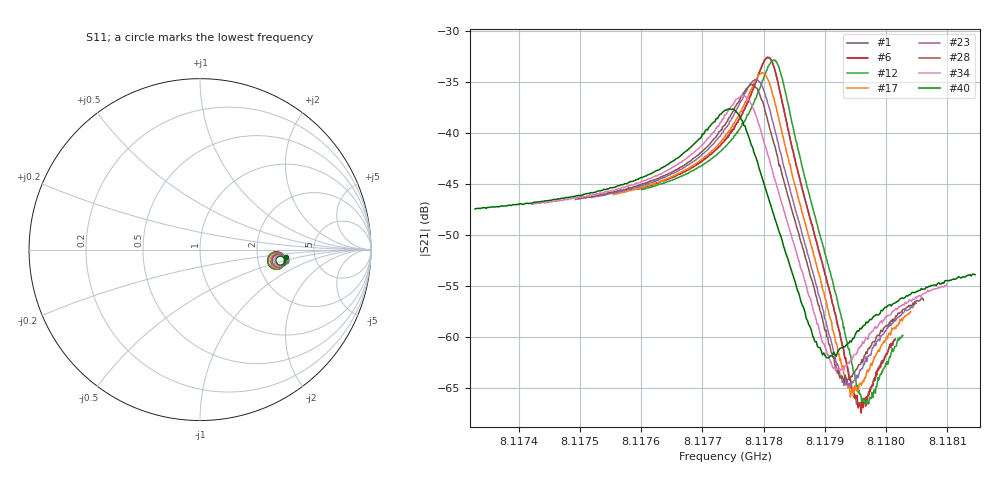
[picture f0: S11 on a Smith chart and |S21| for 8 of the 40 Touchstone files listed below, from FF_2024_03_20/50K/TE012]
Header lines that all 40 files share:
#  HZ  S  RI  R  50.00
! Rohde & Schwarz Vector Network Analyzer
! Rohde-Schwarz,ZNB20-2Port,1311601062101988,3.16
! freq[Hz]  re:S11  im:S11  re:S21  im:S21  re:S12  im:S12  re:S22  im:S22
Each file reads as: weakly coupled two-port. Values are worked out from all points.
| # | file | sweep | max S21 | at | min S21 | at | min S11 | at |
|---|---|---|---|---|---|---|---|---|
| 1 | 2_2_48.1969_50.1958656_0.271_6.521819353103638_.s2p | 8.1175951 GHz to 8.1180133 GHz | -32.59 dB | 8.1178052 GHz | -67.3 dB | 8.1179589 GHz | -7.9 dB | 8.1178094 GHz |
| 2 | 3_2_48.2007_50.1966286_0.271_8.936700105667114_.s2p | 8.1175964 GHz to 8.1180123 GHz | -32.55 dB | 8.1178064 GHz | -66.9 dB | 8.1179603 GHz | -7.9 dB | 8.1178095 GHz |
| 3 | 4_2_48.2001_50.1960983_0.271_11.322847604751587_.s2p | 8.1175988 GHz to 8.1180098 GHz | -32.58 dB | 8.1178064 GHz | -67.1 dB | 8.1179564 GHz | -7.9 dB | 8.1178094 GHz |
| 4 | 5_2_48.2023_50.1955681_0.436_13.74555778503418_.s2p | 8.1175959 GHz to 8.1180127 GHz | -32.59 dB | 8.1178054 GHz | -66.7 dB | 8.1179533 GHz | -7.9 dB | 8.1178095 GHz |
| 5 | 7_2_48.2049_50.1951103_0.481_18.771931409835815_.s2p | 8.1175943 GHz to 8.1180144 GHz | -32.63 dB | 8.1178096 GHz | -67.1 dB | 8.1179598 GHz | -7.9 dB | 8.1178096 GHz |
| 6 | 10_2_48.1969_50.1968613_7.226_32.39781856536865_.s2p | 8.1175931 GHz to 8.1180152 GHz | -32.60 dB | 8.1178073 GHz | -67.4 dB | 8.1179592 GHz | -7.9 dB | 8.1178094 GHz |
| 7 | 11_2_48.2033_50.1970863_214.635_34.80951714515686_.s2p | 8.1175964 GHz to 8.1180129 GHz | -32.62 dB | 8.1178067 GHz | -67.2 dB | 8.1179598 GHz | -7.9 dB | 8.1178099 GHz |
| 8 | 12_2_48.2022_50.1958656_451.803_37.24375820159912_.s2p | 8.1175966 GHz to 8.1180131 GHz | -32.61 dB | 8.11781 GHz | -66.8 dB | 8.1179631 GHz | -7.9 dB | 8.1178111 GHz |
| 9 | 13_2_48.1974_50.1964798_670.979_39.66547441482544_.s2p | 8.1175969 GHz to 8.1180157 GHz | -32.65 dB | 8.1178126 GHz | -67.0 dB | 8.1179613 GHz | -7.9 dB | 8.1178137 GHz |
| 10 | 15_2_48.2001_50.1960983_1175.987_44.54596710205078_.s2p | 8.1176025 GHz to 8.1180193 GHz | -32.70 dB | 8.1178151 GHz | -67.1 dB | 8.1179672 GHz | -7.9 dB | 8.1178182 GHz |
| 11 | 17_2_48.201_50.196331_1653.104_49.36665415763855_.s2p | 8.1176045 GHz to 8.118023 GHz | -32.82 dB | 8.1178159 GHz | -67.4 dB | 8.1179686 GHz | -7.9 dB | 8.11782 GHz |
| 12 | 18_2_48.1988_50.1972427_1897.523_51.78716731071472_.s2p | 8.1176006 GHz to 8.1180273 GHz | -32.85 dB | 8.1178161 GHz | -66.6 dB | 8.1179697 GHz | -7.9 dB | 8.1178193 GHz |
| 13 | 19_2_48.2009_50.1958656_2136.75_54.2017240524292_.s2p | 8.1176001 GHz to 8.1180271 GHz | -32.91 dB | 8.1178157 GHz | -66.5 dB | 8.1179609 GHz | -7.9 dB | 8.1178189 GHz |
| 14 | 24_2_48.2018_50.1944504_3342.463_66.51540517807007_.s2p | 8.1175894 GHz to 8.1180295 GHz | -33.33 dB | 8.1178116 GHz | -66.3 dB | 8.1179602 GHz | -7.8 dB | 8.1178138 GHz |
| 15 | 29_2_48.1999_50.1956673_4540.208_78.60448813438416_.s2p | 8.1175627 GHz to 8.1180404 GHz | -33.78 dB | 8.1178027 GHz | -65.8 dB | 8.1179508 GHz | -7.7 dB | 8.1178063 GHz |
| 16 | 31_2_48.1984_50.1959763_5021.02_83.46940279006958_.s2p | 8.1175577 GHz to 8.1180396 GHz | -33.96 dB | 8.1178011 GHz | -65.7 dB | 8.1179528 GHz | -7.7 dB | 8.1178047 GHz |
| 17 | 32_2_48.1972_50.1939926_5881.178_91.74178862571716_.s2p | 8.117555 GHz to 8.1180399 GHz | -34.11 dB | 8.1177974 GHz | -65.9 dB | 8.1179417 GHz | -7.6 dB | 8.117801 GHz |
| 18 | 33_2_48.201_50.1956673_6121.811_94.29510402679443_.s2p | 8.1175457 GHz to 8.1180405 GHz | -34.12 dB | 8.1177955 GHz | -65.4 dB | 8.1179514 GHz | -7.6 dB | 8.1177993 GHz |
| 19 | 34_2_48.2_50.1963577_6371.396_96.71469569206238_.s2p | 8.1175462 GHz to 8.1180386 GHz | -34.21 dB | 8.1177948 GHz | -65.5 dB | 8.1179413 GHz | -7.6 dB | 8.1177985 GHz |
| 20 | 37_2_48.1996_50.1943741_7122.743_104.019278049469_.s2p | 8.1175363 GHz to 8.1180416 GHz | -34.40 dB | 8.1177915 GHz | -65.3 dB | 8.1179456 GHz | -7.6 dB | 8.1177965 GHz |
| 21 | 38_2_48.1996_50.1949883_7332.732_106.47354125976562_.s2p | 8.1175323 GHz to 8.1180437 GHz | -34.46 dB | 8.1177893 GHz | -65.2 dB | 8.1179402 GHz | -7.6 dB | 8.1177944 GHz |
| 22 | 41_2_48.2023_50.1944504_8062.942_113.77428722381592_.s2p | 8.1175163 GHz to 8.1180529 GHz | -34.68 dB | 8.1177886 GHz | -65.1 dB | 8.1179429 GHz | -7.5 dB | 8.1177927 GHz |
| 23 | 42_2_48.2008_50.1992035_8313.326_116.21980237960815_.s2p | 8.1175186 GHz to 8.1180493 GHz | -34.75 dB | 8.1177893 GHz | -64.9 dB | 8.1179418 GHz | -7.5 dB | 8.1177919 GHz |
| 24 | 43_2_48.2013_50.1946602_8553.495_118.63814616203308_.s2p | 8.1175098 GHz to 8.1180559 GHz | -34.80 dB | 8.1177856 GHz | -64.8 dB | 8.1179344 GHz | -7.5 dB | 8.117791 GHz |
| 25 | 45_2_48.2024_50.1961021_9034.015_123.47590517997742_.s2p | 8.1175053 GHz to 8.1180564 GHz | -34.95 dB | 8.117785 GHz | -64.8 dB | 8.1179366 GHz | -7.5 dB | 8.1177891 GHz |
| 26 | 46_2_48.2029_50.1956482_9274.385_125.8818929195404_.s2p | 8.1175008 GHz to 8.1180588 GHz | -35.03 dB | 8.1177826 GHz | -64.5 dB | 8.1179333 GHz | -7.4 dB | 8.1177882 GHz |
| 27 | 47_2_48.1992_50.1937447_9554.62_128.30334162712097_.s2p | 8.1175002 GHz to 8.1180579 GHz | -35.12 dB | 8.1177832 GHz | -64.8 dB | 8.1179408 GHz | -7.4 dB | 8.1177874 GHz |
| 28 | 49_2_48.2002_50.1929855_10005.037_133.1515600681305_.s2p | 8.1174931 GHz to 8.118061 GHz | -35.24 dB | 8.1177784 GHz | -64.4 dB | 8.1179318 GHz | -7.4 dB | 8.1177855 GHz |
| 29 | 53_2_48.1997_50.1949615_11006.073_142.97931265830994_.s2p | 8.1174725 GHz to 8.1180733 GHz | -35.57 dB | 8.1177745 GHz | -64.2 dB | 8.1179307 GHz | -7.3 dB | 8.117782 GHz |
| 30 | 55_2_48.2021_50.1926765_12087.413_153.6492142677307_.s2p | 8.1174412 GHz to 8.118091 GHz | -35.90 dB | 8.117771 GHz | -63.8 dB | 8.1179302 GHz | -7.3 dB | 8.1177775 GHz |
| 31 | 57_2_48.1974_50.1921463_12547.831_158.5035915374756_.s2p | 8.1174444 GHz to 8.1180861 GHz | -36.06 dB | 8.1177685 GHz | -63.7 dB | 8.1179257 GHz | -7.2 dB | 8.1177749 GHz |
| 32 | 59_2_48.1979_50.1906204_13027.805_163.31561517715454_.s2p | 8.1174285 GHz to 8.118096 GHz | -36.23 dB | 8.1177689 GHz | -63.8 dB | 8.1179224 GHz | -7.2 dB | 8.1177739 GHz |
| 33 | 60_2_48.1973_50.1907005_13278.779_165.7250781059265_.s2p | 8.1174252 GHz to 8.1180976 GHz | -36.27 dB | 8.1177664 GHz | -63.5 dB | 8.1179211 GHz | -7.2 dB | 8.1177731 GHz |
| 34 | 61_2_48.2021_50.1926041_13538.541_168.14727997779846_.s2p | 8.1174209 GHz to 8.118099 GHz | -36.32 dB | 8.117765 GHz | -63.3 dB | 8.1179176 GHz | -7.2 dB | 8.1177718 GHz |
| 35 | 63_2_48.1996_50.1916161_14019.341_173.00778985023499_.s2p | 8.1174064 GHz to 8.1181092 GHz | -36.50 dB | 8.1177666 GHz | -63.2 dB | 8.1179194 GHz | -7.2 dB | 8.1177701 GHz |
| 36 | 67_2_48.1986_50.1902466_14970.091_182.6849491596222_.s2p | 8.1173917 GHz to 8.1181147 GHz | -36.74 dB | 8.1177622 GHz | -62.9 dB | 8.1179159 GHz | -7.1 dB | 8.1177677 GHz |
| 37 | 68_2_48.2013_50.1898651_15210.279_185.11746382713318_.s2p | 8.1173946 GHz to 8.1181104 GHz | -36.84 dB | 8.1177615 GHz | -63.1 dB | 8.1179153 GHz | -7.1 dB | 8.1177668 GHz |
| 38 | 70_2_48.2008_50.1889458_15721.003_189.97359991073608_.s2p | 8.1173784 GHz to 8.1181203 GHz | -36.91 dB | 8.1177605 GHz | -62.9 dB | 8.11792 GHz | -7.1 dB | 8.1177642 GHz |
| 39 | 74_2_48.2007_50.1884918_16691.377_199.65132641792297_.s2p | 8.1173642 GHz to 8.1181273 GHz | -37.20 dB | 8.1177572 GHz | -62.7 dB | 8.1179079 GHz | -7.0 dB | 8.117761 GHz |
| 40 | 79_2_48.1994_50.1869659_18523.158_218.06565880775452_.s2p | 8.1173287 GHz to 8.1181452 GHz | -37.64 dB | 8.117743 GHz | -62.1 dB | 8.117904 GHz | -7.0 dB | 8.117755 GHz |
